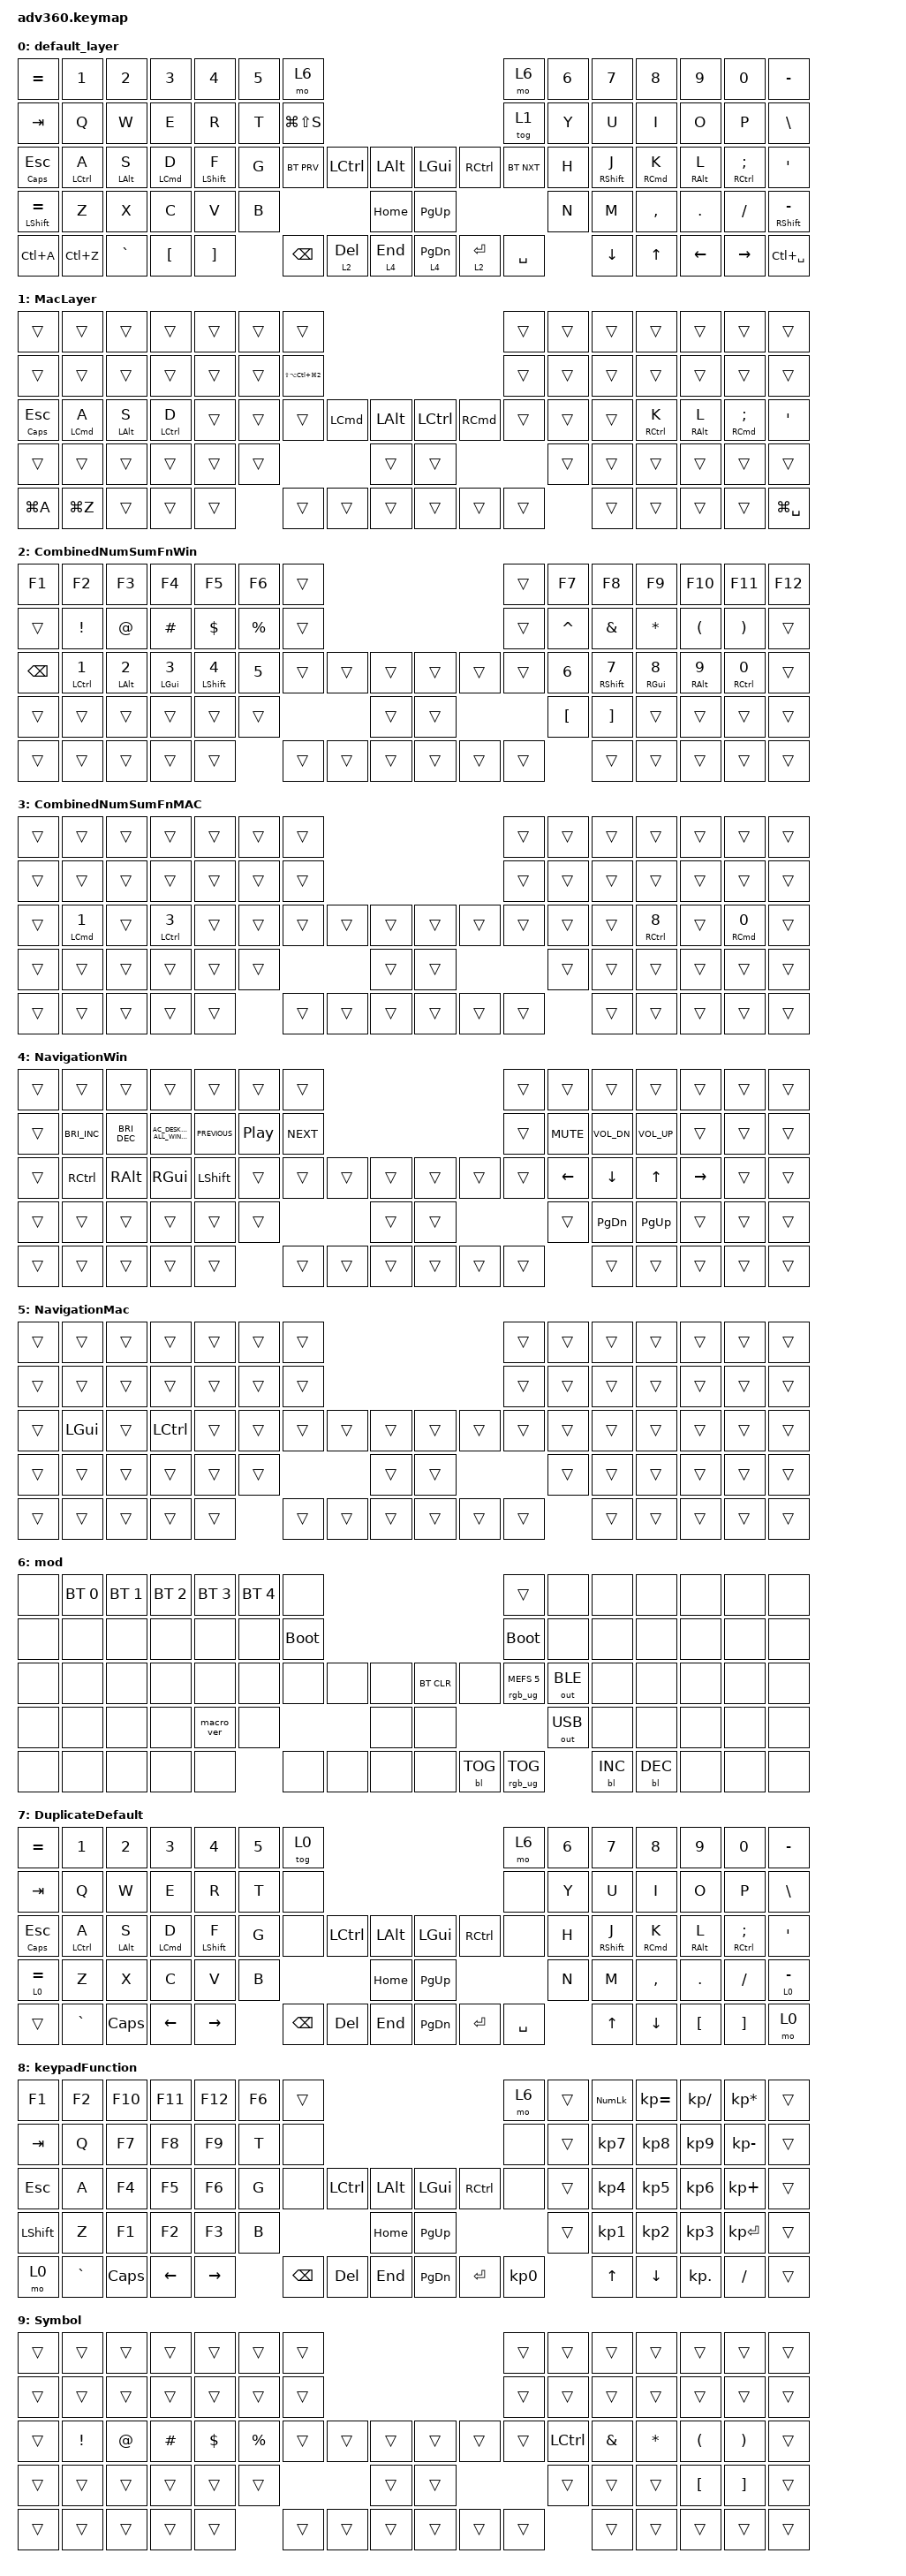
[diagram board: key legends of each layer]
#include <dt-bindings/zmk/mouse.h>
#include <behaviors.dtsi>
#include <dt-bindings/zmk/backlight.h>
#include <dt-bindings/zmk/bt.h>
#include <dt-bindings/zmk/keys.h>
#include <dt-bindings/zmk/outputs.h>
#include <dt-bindings/zmk/rgb.h>

/ {
    behaviors {
        #include "macros.dtsi"
      #include "version.dtsi"
      #ifndef VERSION_MACRO

        macro_ver: macro_ver {
            compatible = "zmk,behavior-macro";
            label = "macro_version";
            #binding-cells = <0>;
            bindings = <&kp RET>, <&macro_press>;
        };

        #endif

        hm: homerow_mods {
            compatible = "zmk,behavior-hold-tap";
            label = "HOMEROW_MODS";
            #binding-cells = <2>;
            tapping-term-ms = <200>;
            quick_tap_ms = <175>;
            flavor = "tap-preferred";
            bindings = <&kp>, <&kp>;
        };

        hml: hml {
            compatible = "zmk,behavior-hold-tap";
            label = "HML";
            #binding-cells = <2>;
            tapping-term-ms = <250>;
            flavor = "tap-preferred";
            bindings = <&kp>, <&kp>;

            quick-tap-ms = <175>;
            require-prior-idle-ms = <150>;
            hold-trigger-key-positions = <7 8 9 10 11 12 13 21 22 23 24 25 26 27 37 38 39 40 41 42 43 44 45 53 54 55 56 57 58 59 69 70 71 72 73 74 75 35 36 52 65 66 67 68>;
            hold-trigger-on-release;
        };

        hmr: hmr {
            compatible = "zmk,behavior-hold-tap";
            label = "HMR";
            #binding-cells = <2>;
            tapping-term-ms = <250>;
            flavor = "tap-preferred";
            bindings = <&kp>, <&kp>;

            quick-tap-ms = <175>;
            require-prior-idle-ms = <150>;
            hold-trigger-key-positions = <0 1 2 3 4 5 6 14 15 16 17 18 19 20 28 29 30 31 32 33 34 35 36 46 47 48 49 50 51 52 60 61 62 63 64 65 66 67 37 38 53 68 69 70>;
            hold-trigger-on-release;
        };

        hrmlshift: hrmlshift {
            compatible = "zmk,behavior-hold-tap";
            label = "HRMLSHIFT";
            #binding-cells = <2>;
            tapping-term-ms = <175>;
            flavor = "tap-preferred";
            bindings = <&kp>, <&kp>;

            quick-tap-ms = <150>;
            require-prior-idle-ms = <125>;
            hold-trigger-key-positions = <41 42 43 44>;
            hold-trigger-on-release;
        };

        hmrrshift: hmrrshift {
            compatible = "zmk,behavior-hold-tap";
            label = "HMRRSHIFT";
            #binding-cells = <2>;
            tapping-term-ms = <175>;
            flavor = "tap-preferred";
            bindings = <&kp>, <&kp>;

            quick-tap-ms = <150>;
            require-prior-idle-ms = <125>;
            hold-trigger-key-positions = <32 31 30 29>;
            hold-trigger-on-release;
        };
    };

    macros {
    };

    keymap {
        compatible = "zmk,keymap";

        default_layer {
            bindings = <
&kp EQUAL             &kp N1        &kp N2           &kp N3            &kp N4                   &kp N5  &mo 6                                                                     &mo 6       &kp N6  &kp N7                    &kp N8        &kp N9            &kp N0                &kp MINUS
&kp TAB               &kp Q         &kp W            &kp E             &kp R                    &kp T   &kp LG(LS(S))                                                             &tog 1      &kp Y   &kp U                     &kp I         &kp O             &kp P                 &kp BSLH
&mt CAPSLOCK ESCAPE   &hml LCTRL A  &hml LEFT_ALT S  &hml LCMD D       &hrmlshift LEFT_SHIFT F  &kp G   &bt BT_PRV     &kp LCTRL     &kp LALT       &kp LGUI         &kp RCTRL    &bt BT_NXT  &kp H   &hmrrshift RIGHT_SHIFT J  &hmr RCMD K   &hmr RIGHT_ALT L  &hmr RCTRL SEMICOLON  &kp APOSTROPHE
&mt LEFT_SHIFT EQUAL  &kp Z         &kp X            &kp C             &kp V                    &kp B                                &kp HOME       &kp PG_UP                                 &kp N   &kp M                     &kp COMMA     &kp DOT           &kp FSLH              &mt RIGHT_SHIFT MINUS
&kp LC(A)             &kp LC(Z)     &kp GRAVE        &kp LEFT_BRACKET  &kp RIGHT_BRACKET                &kp BACKSPACE  &lt 2 DELETE  &lt 4 END      &lt 4 PAGE_DOWN  &lt 2 ENTER  &kp SPACE           &kp DOWN_ARROW            &kp UP_ARROW  &kp LEFT_ARROW    &kp RIGHT             &kp LC(SPACE)
            >;
        };

        MacLayer {
            bindings = <
&trans               &trans               &trans           &trans               &trans  &trans  &trans                                                                     &trans  &trans  &trans  &trans                &trans            &trans                        &trans
&trans               &trans               &trans           &trans               &trans  &trans  &kp LS(LA(LC(LG(NUMBER_2))))                                               &trans  &trans  &trans  &trans                &trans            &trans                        &trans
&mt CAPSLOCK ESCAPE  &hml LEFT_COMMAND A  &hml LEFT_ALT S  &hml LEFT_CONTROL D  &trans  &trans  &trans                        &kp LCMD  &kp LALT      &kp LCTRL  &kp RCMD  &trans  &trans  &trans  &hmr RIGHT_CONTROL K  &hmr RIGHT_ALT L  &hmr RIGHT_COMMAND SEMICOLON  &kp APOSTROPHE
&trans               &trans               &trans           &trans               &trans  &trans                                          &trans        &trans                       &trans  &trans  &trans                &trans            &trans                        &trans
&kp LG(A)            &kp LG(Z)            &trans           &trans               &trans          &trans                        &trans    &trans        &trans     &trans    &trans          &trans  &trans                &trans            &trans                        &kp LG(SPACE)
            >;
        };

        CombinedNumSumFnWin {
            bindings = <
&kp F1         &kp F2                      &kp F3                  &kp F4                  &kp F5                    &kp F6        &trans                                      &trans  &kp F7            &kp F8               &kp F9                   &kp F10                  &kp F11                      &kp F12
&trans         &kp EXCLAMATION             &kp AT_SIGN             &kp HASH                &kp DOLLAR                &kp PERCENT   &trans                                      &trans  &kp CARET         &kp AMPERSAND        &kp ASTERISK             &kp LEFT_PARENTHESIS     &kp RIGHT_PARENTHESIS        &trans
&kp BACKSPACE  &hml LEFT_CONTROL NUMBER_1  &hml LEFT_ALT NUMBER_2  &hml LEFT_GUI NUMBER_3  &hml LEFT_SHIFT NUMBER_4  &kp NUMBER_5  &trans  &trans  &trans      &trans  &trans  &trans  &kp NUMBER_6      &hmr RIGHT_SHIFT N7  &hmr RIGHT_GUI NUMBER_8  &hmr RIGHT_ALT NUMBER_9  &hmr RIGHT_CONTROL NUMBER_0  &trans
&trans         &trans                      &trans                  &trans                  &trans                    &trans                        &trans      &trans                  &kp LEFT_BRACKET  &kp RIGHT_BRACKET    &trans                   &trans                   &trans                       &trans
&trans         &trans                      &trans                  &trans                  &trans                                  &trans  &trans  &trans      &trans  &trans  &trans                    &trans               &trans                   &trans                   &trans                       &trans
            >;
        };

        CombinedNumSumFnMAC {
            bindings = <
&trans  &trans                      &trans  &trans                      &trans  &trans  &trans                                      &trans  &trans  &trans  &trans                       &trans  &trans                       &trans
&trans  &trans                      &trans  &trans                      &trans  &trans  &trans                                      &trans  &trans  &trans  &trans                       &trans  &trans                       &trans
&trans  &hml LEFT_COMMAND NUMBER_1  &trans  &hml LEFT_CONTROL NUMBER_3  &trans  &trans  &trans  &trans  &trans      &trans  &trans  &trans  &trans  &trans  &hmr RIGHT_CONTROL NUMBER_8  &trans  &hmr RIGHT_COMMAND NUMBER_0  &trans
&trans  &trans                      &trans  &trans                      &trans  &trans                  &trans      &trans                  &trans  &trans  &trans                       &trans  &trans                       &trans
&trans  &trans                      &trans  &trans                      &trans          &trans  &trans  &trans      &trans  &trans  &trans          &trans  &trans                       &trans  &trans                       &trans
            >;
        };

        NavigationWin {
            bindings = <
&trans  &trans                &trans                &trans                             &trans          &trans            &trans                                          &trans  &trans      &trans         &trans           &trans     &trans  &trans
&trans  &kp C_BRIGHTNESS_INC  &kp C_BRIGHTNESS_DEC  &kp C_AC_DESKTOP_SHOW_ALL_WINDOWS  &kp C_PREVIOUS  &kp C_PLAY_PAUSE  &kp C_NEXT                                      &trans  &kp C_MUTE  &kp C_VOL_DN   &kp C_VOLUME_UP  &trans     &trans  &trans
&trans  &kp RCTRL             &kp RALT              &kp RGUI                           &kp LSHFT       &trans            &trans      &trans  &trans      &trans  &trans  &trans  &kp LEFT    &kp DOWN       &kp UP_ARROW     &kp RIGHT  &trans  &trans
&trans  &trans                &trans                &trans                             &trans          &trans                                &trans      &trans                  &trans      &kp PAGE_DOWN  &kp PAGE_UP      &trans     &trans  &trans
&trans  &trans                &trans                &trans                             &trans                            &trans      &trans  &trans      &trans  &trans  &trans              &trans         &trans           &trans     &trans  &trans
            >;
        };

        NavigationMac {
            bindings = <
&trans  &trans        &trans  &trans            &trans  &trans  &trans                                      &trans  &trans  &trans  &trans  &trans  &trans  &trans
&trans  &trans        &trans  &trans            &trans  &trans  &trans                                      &trans  &trans  &trans  &trans  &trans  &trans  &trans
&trans  &kp LEFT_GUI  &trans  &kp LEFT_CONTROL  &trans  &trans  &trans  &trans  &trans      &trans  &trans  &trans  &trans  &trans  &trans  &trans  &trans  &trans
&trans  &trans        &trans  &trans            &trans  &trans                  &trans      &trans                  &trans  &trans  &trans  &trans  &trans  &trans
&trans  &trans        &trans  &trans            &trans          &trans  &trans  &trans      &trans  &trans  &trans          &trans  &trans  &trans  &trans  &trans
            >;
        };

        mod {
            bindings = <
&none  &bt BT_SEL 0  &bt BT_SEL 1  &bt BT_SEL 2  &bt BT_SEL 3  &bt BT_SEL 4  &none                                                  &trans                  &none         &none       &none       &none  &none  &none
&none  &none         &none         &none         &none         &none         &bootloader                                            &bootloader             &none         &none       &none       &none  &none  &none
&none  &none         &none         &none         &none         &none         &none        &none  &none      &bt BT_CLR  &none       &rgb_ug RGB_MEFS_CMD 5  &out OUT_BLE  &none       &none       &none  &none  &none
&none  &none         &none         &none         &macro_ver    &none                             &none      &none                                           &out OUT_USB  &none       &none       &none  &none  &none
&none  &none         &none         &none         &none                       &none        &none  &none      &none       &bl BL_TOG  &rgb_ug RGB_TOG                       &bl BL_INC  &bl BL_DEC  &none  &none  &none
            >;
        };

        DuplicateDefault {
            bindings = <
&kp EQUAL        &kp N1        &kp N2           &kp N3       &kp N4             &kp N5  &tog 0                                                   &mo 6      &kp N6  &kp N7              &kp N8       &kp N9            &kp N0                &kp MINUS
&kp TAB          &kp Q         &kp W            &kp E        &kp R              &kp T   &none                                                    &none      &kp Y   &kp U               &kp I        &kp O             &kp P                 &kp BSLH
&mt CAPS ESCAPE  &hml LCTRL A  &hml LEFT_ALT S  &hml LCMD D  &hml LEFT_SHIFT F  &kp G   &none     &kp LCTRL  &kp LALT      &kp LGUI   &kp RCTRL  &none      &kp H   &hmr RIGHT_SHIFT J  &hmr RCMD K  &hmr RIGHT_ALT L  &hmr RCTRL SEMICOLON  &kp SQT
&lt 0 EQUAL      &kp Z         &kp X            &kp C        &kp V              &kp B                        &kp HOME      &kp PG_UP                        &kp N   &kp M               &kp COMMA    &kp DOT           &kp FSLH              &lt 0 MINUS
&trans           &kp GRAVE     &kp CAPS         &kp LEFT     &kp RIGHT                  &kp BSPC  &kp DEL    &kp END       &kp PG_DN  &kp ENTER  &kp SPACE          &kp UP              &kp DOWN     &kp LBKT          &kp RBKT              &mo 0
            >;
        };

        keypadFunction {
            bindings = <
&kp F1     &kp F2     &kp F10   &kp F11   &kp F12    &kp F6  &trans                                                   &mo 6      &trans  &kp KP_NUM  &kp KP_EQUAL  &kp KP_DIVIDE  &kp KP_MULTIPLY  &trans
&kp TAB    &kp Q      &kp F7    &kp F8    &kp F9     &kp T   &none                                                    &none      &trans  &kp KP_N7   &kp KP_N8     &kp KP_N9      &kp KP_MINUS     &trans
&kp ESC    &kp A      &kp F4    &kp F5    &kp F6     &kp G   &none     &kp LCTRL  &kp LALT      &kp LGUI   &kp RCTRL  &none      &trans  &kp KP_N4   &kp KP_N5     &kp KP_N6      &kp KP_PLUS      &trans
&kp LSHFT  &kp Z      &kp F1    &kp F2    &kp F3     &kp B                        &kp HOME      &kp PG_UP                        &trans  &kp KP_N1   &kp KP_N2     &kp KP_N3      &kp KP_ENTER     &trans
&mo 0      &kp GRAVE  &kp CAPS  &kp LEFT  &kp RIGHT          &kp BSPC  &kp DEL    &kp END       &kp PG_DN  &kp ENTER  &kp KP_N0          &kp UP      &kp DOWN      &kp KP_DOT     &kp SLASH        &trans
            >;
        };

        Symbol {
            bindings = <
&trans  &trans           &trans       &trans    &trans      &trans       &trans                                      &trans  &trans            &trans         &trans        &trans                &trans                 &trans
&trans  &trans           &trans       &trans    &trans      &trans       &trans                                      &trans  &trans            &trans         &trans        &trans                &trans                 &trans
&trans  &kp EXCLAMATION  &kp AT_SIGN  &kp HASH  &kp DOLLAR  &kp PERCENT  &trans  &trans  &trans      &trans  &trans  &trans  &kp LEFT_CONTROL  &kp AMPERSAND  &kp ASTERISK  &kp LEFT_PARENTHESIS  &kp RIGHT_PARENTHESIS  &trans
&trans  &trans           &trans       &trans    &trans      &trans                       &trans      &trans                  &trans            &trans         &trans        &kp LEFT_BRACKET      &kp RIGHT_BRACKET      &trans
&trans  &trans           &trans       &trans    &trans                   &trans  &trans  &trans      &trans  &trans  &trans                    &trans         &trans        &trans                &trans                 &trans
            >;
        };
    };

    conditional_layers {
        compatible = "zmk,conditional-layers";

        MacNavigationCondition {
            if-layers = <1 4>;
            then-layer = <5>;
        };

        CombinedNumSumFnMACCondition {
            if-layers = <1 2>;
            then-layer = <3>;
        };
    };
};
